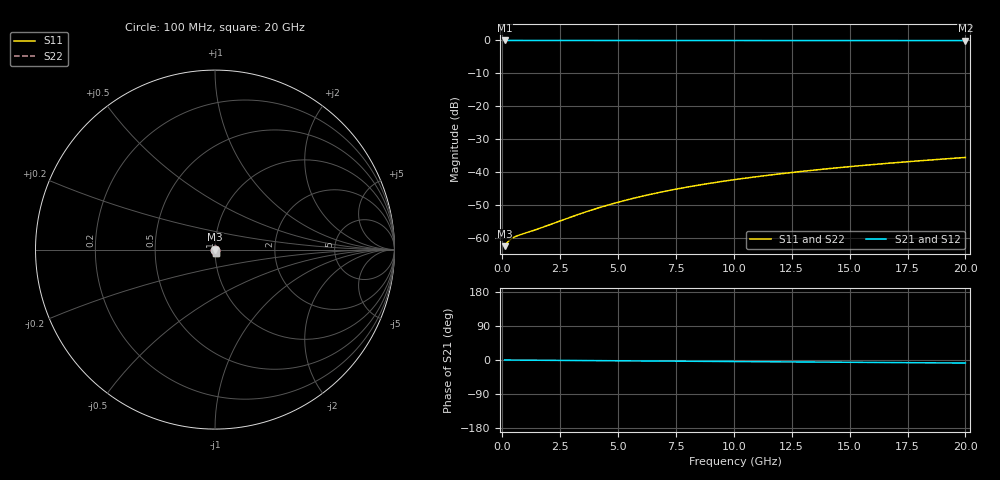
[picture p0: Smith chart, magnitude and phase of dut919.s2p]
! Touchstone file exported from HFSS 2026.1.0
!  File:  C:/ffzhzh/LocalFiles/Ansys_Project_Files/temp_train_TMRDL_919_1783158129_18472.aedt
!  Generated:  05:43:21 PM Jul  4, 2026
!  Design:  TMRDL
!  Project:  temp_train_TMRDL_919_1783158129_18472
! Variables:
!  h_bsmrdl = 2um
!  h_ox = 20um
!  h_rdl = 5um
!  h_sub = 80um
!  h_tmrdl = 5.45um
!  h_tsv = 80um
!  h_via = 3um
!  l_bsmrdl = 300um
!  l_sub = 538.38um
!  l_tmrdl = 138.38um
!  m_sub = 200um
!  pitch = 18.61um
!  r_tsv = 6um
!  s_tmrdl = 10um
!  w_bsmrdl = 18um
!  w_sub = 500um
!  w_tmrdl = 15.22um
!  x_tsv_center1 = 145.99um
!  x_tsv_center2 = 463.99um
!  x_tsv_center3 = 617.59um
!  x_tsv_center4 = 935.59um
!  x_tsv_center5 = 1089.19um
!  x_tsv_center6 = 1407.19um
# GHz S MA R 50.000000
! Terminal data exported
! Port[1] = TM_RDL1_1_T1
! Port[2] = TM_RDL1_1_T2
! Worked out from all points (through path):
!   200 points, 100 MHz to 20 GHz, reference 50 ohm
!   highest |S21| = -0.01 dB at 100 MHz (marker M1); lowest = 0.0 dB at 20 GHz (marker M2)
!   group delay of S21, straight-line fit = 1.1 ps
!   lowest |S11| = -62.6 dB at 100 MHz (marker M3), VSWR 1.00, Z = 50.1 + j0.00863 ohm
!   |S11| at or under -10 dB: start of sweep to end of sweep
!   |S22| runs from -62.6 to -35.6 dB; largest |S21 - S12| = 2e-15
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0.1  0.0007409 6.7  0.9993 -0.0  0.9993 -0.0  0.0007409 6.7
! Gamma 0 0 0 0
! Port Impedance 50 0 50 0
0.2  0.0008287 8.3  0.9992 -0.1  0.9992 -0.1  0.0008287 8.3
0.3  0.0009081 6.6  0.9991 -0.1  0.9991 -0.1  0.0009081 6.6
0.4  0.0009681 3.8  0.999 -0.2  0.999 -0.2  0.0009681 3.8
0.5  0.001014 0.8  0.999 -0.2  0.999 -0.2  0.001014 0.8
0.6  0.00105 -2.0  0.9989 -0.3  0.9989 -0.3  0.00105 -2.0
1.6  0.001378 -22.0  0.9987 -0.7  0.9987 -0.7  0.001378 -22.0
2.9  0.002019 -36.3  0.9983 -1.2  0.9983 -1.2  0.002019 -36.3
3.5  0.00239 -40.9  0.9982 -1.5  0.9982 -1.5  0.00239 -40.9
4.3  0.002938 -45.9  0.9979 -1.8  0.9979 -1.8  0.002938 -45.9
5.1  0.00353 -50.0  0.9976 -2.1  0.9976 -2.1  0.00353 -50.0
5.9  0.004153 -53.5  0.9974 -2.4  0.9974 -2.4  0.004153 -53.5
6.8  0.004882 -56.8  0.9971 -2.8  0.9971 -2.8  0.004882 -56.8
7.6  0.005546 -59.4  0.9969 -3.1  0.9969 -3.1  0.005546 -59.4
8.4  0.006221 -61.7  0.9967 -3.4  0.9967 -3.4  0.006221 -61.7
9.2  0.006905 -63.7  0.9965 -3.8  0.9965 -3.8  0.006905 -63.7
10.1  0.007683 -65.8  0.9963 -4.1  0.9963 -4.1  0.007683 -65.8
11.7  0.009083 -68.8  0.996 -4.7  0.996 -4.7  0.009083 -68.8
13.4  0.01059 -71.6  0.9957 -5.4  0.9957 -5.4  0.01059 -71.6
15  0.01202 -73.8  0.9954 -6.0  0.9954 -6.0  0.01202 -73.8
16.7  0.01356 -75.9  0.9951 -6.7  0.9951 -6.7  0.01356 -75.9
20  0.01657 -79.3  0.9945 -8.0  0.9945 -8.0  0.01657 -79.3
